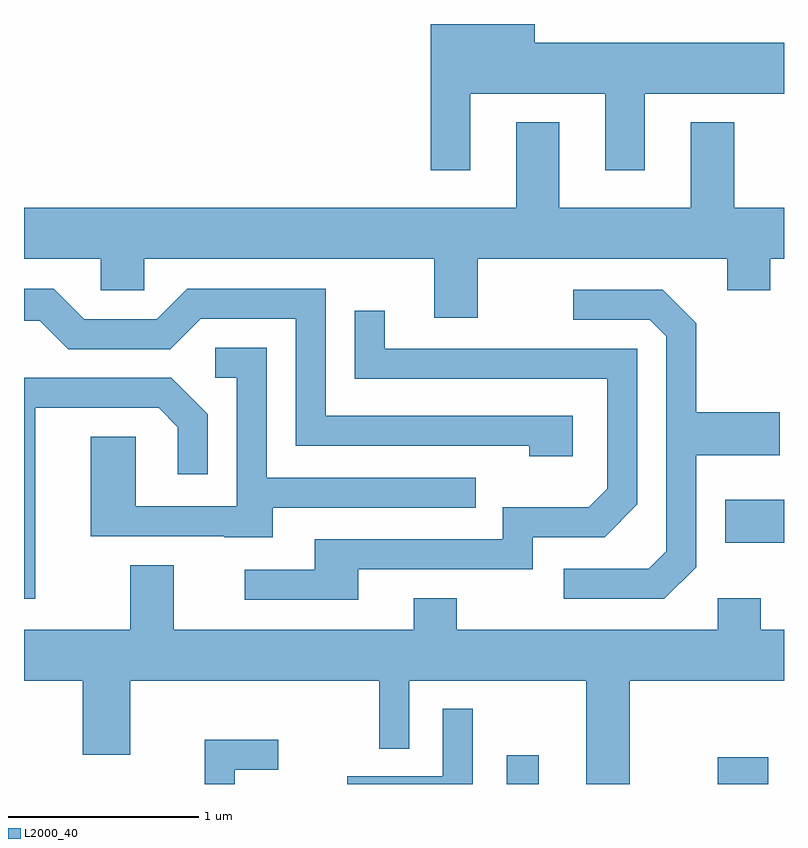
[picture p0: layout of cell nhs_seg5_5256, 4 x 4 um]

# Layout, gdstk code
import gdstk
lib = gdstk.Library(unit=1e-6, precision=1e-09)
def R(c, l, rs):  # rectangles x0, y0, x1, y1
    for r in rs: c.add(gdstk.rectangle(r[:2], r[2:], *l))
def P(c, l, *ps):  # polygons
    for p in ps: c.add(gdstk.Polygon(p, *l))
L2000_40 = (2000, 40)

nhs_seg5_5256 = lib.new_cell('nhs_seg5_5256')
R(nhs_seg5_5256, L2000_40, [(344.151,1414.072,344.319,1414.223), (345.261,1414.072,345.529,1414.214), (345.301,1415.341,345.611,1415.569)])
P(nhs_seg5_5256, L2000_40, [(343.959,1417.706),(344.671,1417.706),(344.671,1417.301),(344.879,1417.301),(344.879,1417.706),(345.611,1417.706),(345.611,1417.974),(344.299,1417.974),(344.299,1418.072),(343.751,1418.072),(343.751,1417.301),(343.959,1417.301)],
  [(343.999,1416.836),(345.311,1416.836),(345.311,1416.671),(345.539,1416.671),(345.539,1416.836),(345.611,1416.836),(345.611,1417.104),(345.349,1417.104),(345.349,1417.554),(345.121,1417.554),(345.121,1417.104),(344.429,1417.104),(344.429,1417.554),(344.201,1417.554),(344.201,1417.104),(341.611,1417.104),(341.611,1416.836),(342.016,1416.836),(342.016,1416.671),(342.244,1416.671),(342.244,1416.836),(343.771,1416.836),(343.771,1416.526),(343.999,1416.526)],
  [(344.499,1416.009),(343.199,1416.009),(343.199,1416.679),(342.469,1416.679),(342.309,1416.519),(341.927,1416.519),(341.767,1416.679),(341.611,1416.679),(341.611,1416.511),(341.694,1416.511),(341.844,1416.361),(342.382,1416.361),(342.542,1416.521),(343.041,1416.521),(343.041,1415.851),(344.271,1415.851),(344.271,1415.796),(344.499,1415.796)],
  [(345.149,1415.214),(345.149,1415.801),(345.589,1415.801),(345.589,1416.029),(345.149,1416.029),(345.149,1416.497),(344.972,1416.674),(344.503,1416.674),(344.503,1416.516),(344.904,1416.516),(344.991,1416.429),(344.991,1415.297),(344.899,1415.204),(344.453,1415.204),(344.453,1415.046),(344.982,1415.046)],
  [(343.369,1415.201),(344.289,1415.201),(344.289,1415.371),(344.667,1415.371),(344.839,1415.544),(344.839,1416.364),(343.509,1416.364),(343.509,1416.563),(343.351,1416.563),(343.351,1416.206),(344.681,1416.206),(344.681,1415.627),(344.584,1415.529),(344.131,1415.529),(344.131,1415.359),(343.141,1415.359),(343.141,1415.199),(342.773,1415.199),(342.773,1415.041),(343.369,1415.041)],
  [(342.919,1415.526),(343.988,1415.526),(343.988,1415.684),(342.889,1415.684),(342.889,1416.369),(342.618,1416.369),(342.618,1416.211),(342.731,1416.211),(342.731,1415.534),(342.199,1415.534),(342.199,1415.899),(341.961,1415.899),(341.961,1415.376),(342.665,1415.376),(342.665,1415.371),(342.919,1415.371)],
  [(341.669,1416.051),(342.319,1416.051),(342.421,1415.949),(342.421,1415.703),(342.579,1415.703),(342.579,1416.017),(342.387,1416.209),(341.611,1416.209),(341.611,1415.046),(341.669,1415.046)],
  [(344.799,1414.616),(345.611,1414.616),(345.611,1414.884),(345.489,1414.884),(345.489,1415.049),(345.261,1415.049),(345.261,1414.884),(343.889,1414.884),(343.889,1415.049),(343.661,1415.049),(343.661,1414.884),(342.399,1414.884),(342.399,1415.224),(342.171,1415.224),(342.171,1414.884),(341.611,1414.884),(341.611,1414.616),(341.921,1414.616),(341.921,1414.226),(342.169,1414.226),(342.169,1414.616),(343.481,1414.616),(343.481,1414.258),(343.639,1414.258),(343.639,1414.616),(344.571,1414.616),(344.571,1414.072),(344.799,1414.072)],
  [(343.974,1414.468),(343.816,1414.468),(343.816,1414.114),(343.311,1414.114),(343.311,1414.072),(343.974,1414.072)],
  [(342.719,1414.146),(342.948,1414.146),(342.948,1414.304),(342.561,1414.304),(342.561,1414.072),(342.719,1414.072)])

lib.write_gds('nhs_seg5_5256.gds')
